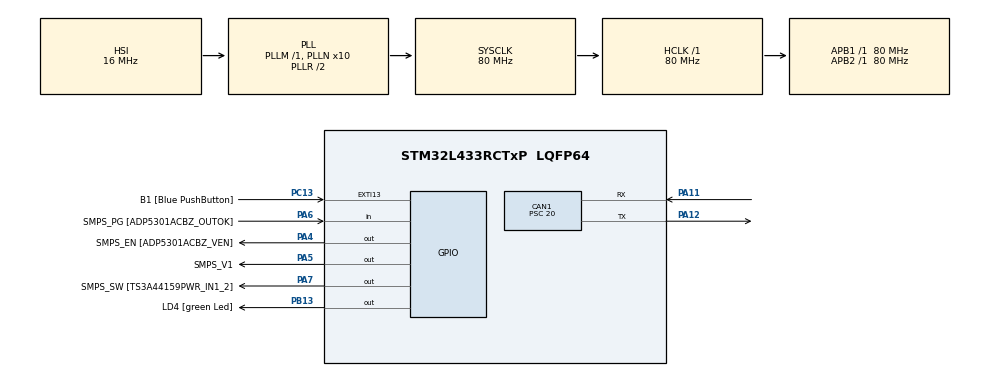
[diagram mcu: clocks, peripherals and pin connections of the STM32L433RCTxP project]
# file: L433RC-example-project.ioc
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CAN1.BS1=CAN_BS1_2TQ
CAN1.BS2=CAN_BS2_1TQ
CAN1.CalculateBaudRate=1000000
CAN1.CalculateTimeBit=1000
CAN1.CalculateTimeQuantum=250.0
CAN1.Prescaler=20
Mcu.Family=STM32L4
Mcu.Name=STM32L433RCTxP
Mcu.Package=LQFP64
NVIC.CAN1_RX0_IRQn=true\:0\:0\:false\:false\:true\:true\:true\:true
NVIC.PriorityGroup=NVIC_PRIORITYGROUP_4
PA11.Mode=CAN_Activate
PA11.Signal=CAN1_RX
PA12.Mode=CAN_Activate
PA12.Signal=CAN1_TX
PA13\ (JTMS-SWDIO).GPIO_Label=TMS
PA13\ (JTMS-SWDIO).Signal=SYS_JTMS-SWDIO
PA14\ (JTCK-SWCLK).GPIO_Label=TCK
PA14\ (JTCK-SWCLK).Signal=SYS_JTCK-SWCLK
PA2.GPIO_Label=USART_TX
PA2.GPIO_Mode=GPIO_MODE_AF_PP
PA2.GPIO_PuPd=GPIO_NOPULL
PA2.GPIO_Speed=GPIO_SPEED_FREQ_VERY_HIGH
PA2.Signal=USART2_TX
PA3.GPIO_Label=USART_RX
PA3.GPIO_Mode=GPIO_MODE_AF_PP
PA3.GPIO_PuPd=GPIO_NOPULL
PA3.GPIO_Speed=GPIO_SPEED_FREQ_VERY_HIGH
PA3.Signal=USART2_RX
PA4.GPIO_Label=SMPS_EN [ADP5301ACBZ_VEN]
PA4.Signal=GPIO_Output
PA5.GPIO_Label=SMPS_V1
PA5.GPIO_ModeDefaultOutputPP=GPIO_MODE_OUTPUT_PP
PA5.GPIO_PuPd=GPIO_NOPULL
PA5.GPIO_Speed=GPIO_SPEED_FREQ_LOW
PA5.Signal=GPIO_Output
PA6.GPIO_Label=SMPS_PG [ADP5301ACBZ_OUTOK]
PA6.GPIO_PuPd=GPIO_PULLUP
PA6.Signal=GPIO_Input
PA7.GPIO_Label=SMPS_SW [TS3A44159PWR_IN1_2]
PA7.Signal=GPIO_Output
PB13.GPIO_Label=LD4 [green Led]
PB13.Signal=GPIO_Output
PB3\ (JTDO-TRACESWO).GPIO_Label=SWO
PB3\ (JTDO-TRACESWO).Signal=SYS_JTDO-SWO
PC13.GPIO_Label=B1 [Blue PushButton]
PC13.GPIO_ModeDefaultEXTI=GPIO_MODE_IT_FALLING
PC13.GPIO_PuPd=GPIO_NOPULL
PC13.Signal=GPXTI13
PC14-OSC32_IN\ (PC14).Signal=RCC_OSC32_IN
PC15-OSC32_OUT\ (PC15).Signal=RCC_OSC32_OUT
PH0-OSC_IN\ (PH0).GPIO_Label=MCO
PH0-OSC_IN\ (PH0).Signal=RCC_OSC_IN
PH1-OSC_OUT\ (PH1).Signal=RCC_OSC_OUT
ProjectManager.HeapSize=0x200
ProjectManager.StackSize=0x400
ProjectManager.TargetToolchain=STM32CubeIDE
RCC.ADCFreq_Value=64000000
RCC.AHBFreq_Value=80000000
RCC.APB1Freq_Value=80000000
RCC.APB1TimFreq_Value=80000000
RCC.APB2Freq_Value=80000000
RCC.APB2TimFreq_Value=80000000
RCC.CortexFreq_Value=80000000
RCC.HCLKFreq_Value=80000000
RCC.HSE_VALUE=8000000
RCC.HSI48_VALUE=48000000
RCC.HSI_VALUE=16000000
RCC.LSE_VALUE=32768
RCC.MSI_VALUE=4000000
RCC.PLLN=10
RCC.PLLSourceVirtual=RCC_PLLSOURCE_HSI
RCC.PREFETCH_ENABLE=1
RCC.SYSCLKFreq_VALUE=80000000
RCC.SYSCLKSource=RCC_SYSCLKSOURCE_PLLCLK
RCC.USBFreq_Value=64000000
RCC.VCOOutputFreq_Value=160000000
board=NUCLEO-L433RC-P

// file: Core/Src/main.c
/* USER CODE BEGIN Header */
/**
  ******************************************************************************
  * @file           : main.c
  * @brief          : Main program body
  ******************************************************************************
  * @attention
  *
  * Copyright (c) 2024 STMicroelectronics.
  * All rights reserved.
  *
  * This software is licensed under terms that can be found in the LICENSE file
  * in the root directory of this software component.
  * If no LICENSE file comes with this software, it is provided AS-IS.
  *
  ******************************************************************************
  */
/* USER CODE END Header */
#include "main.h"
#include "can.h"
#include "gpio.h"

/* USER CODE BEGIN Includes */
#include "canard_stm32_driver.h"
#include <time.h>
#include <stdio.h>
#include "dronecan_msgs.h"
#include "node_config.h"
/* USER CODE END Includes */

/* USER CODE BEGIN PD */
#define CLOCK_MONOTONIC 1  // Define CLOCK_MONOTONIC for compatibility
/* USER CODE END PD */

/* USER CODE BEGIN PV */
static CanardInstance canard;
static uint8_t memory_pool[1024];
static struct uavcan_protocol_NodeStatus node_status;
/* USER CODE END PV */

void SystemClock_Config(void);

/* USER CODE BEGIN 0 */
// The actual ISR, modify this to your needs
// Run HAL_CAN_ActivateNotification(&hcan1, CAN_IT_RX_FIFO0_MSG_PENDING) once to set up the ISR
void HAL_CAN_RxFifo0MsgPendingCallback(CAN_HandleTypeDef *hcan) {
	// Receiving
	CanardCANFrame rx_frame;

	const uint64_t timestamp = HAL_GetTick() * 1000ULL;
	const int16_t rx_res = canardSTM32Recieve(hcan, CAN_RX_FIFO0, &rx_frame);

	if (rx_res < 0) {
		printf("Receive error %d\n", rx_res);
	}
	else if (rx_res > 0)        // Success - process the frame
	{
		canardHandleRxFrame(&canard, &rx_frame, timestamp);
	}
}

// CAN Filter setup, modify this to your needs
// Run this once before calling HAL_CAN_Start()
void setupCANFilter(CAN_HandleTypeDef *hcan) {
    CAN_FilterTypeDef filter;
    filter.FilterBank = 0;
	filter.FilterMode = CAN_FILTERMODE_IDMASK;
	filter.FilterFIFOAssignment = CAN_RX_FIFO0;
	filter.FilterIdHigh = 0;
	filter.FilterIdLow = 0;
	filter.FilterMaskIdHigh = 0;
	filter.FilterMaskIdLow = 0;
	filter.FilterScale = CAN_FILTERSCALE_32BIT;
	filter.FilterActivation = ENABLE;
	filter.SlaveStartFilterBank = 14;

	HAL_CAN_ConfigFilter(hcan, &filter);
}

// Custom clock_gettime function for STM32
int clock_gettime(clockid_t clk_id, struct timespec *tp) {
    if (clk_id == CLOCK_MONOTONIC) {
        uint32_t millis = HAL_GetTick();  // Get the current tick in milliseconds
        tp->tv_sec = millis / 1000;       // Convert milliseconds to seconds
        tp->tv_nsec = (millis % 1000) * 1000000;  // Convert remaining milliseconds to nanoseconds
        return 0;  // Success
    }
    return -1;  // Unsupported clock ID
}

// NOTE: All canard handlers and senders are based on this reference: https://dronecan.github.io/Specification/7._List_of_standard_data_types/
// Alternatively, you can look at the corresponding generated header file in the dsdlc_generated folder

// Canard Handlers ( Many have code copied from libcanard esc_node example: https://github.com/dronecan/libcanard/blob/master/examples/ESCNode/esc_node.c )

void handle_NodeStatus(CanardInstance *ins, CanardRxTransfer *transfer) {
	struct uavcan_protocol_NodeStatus nodeStatus;

	if (uavcan_protocol_NodeStatus_decode(transfer, &nodeStatus)) {
		return;
	}

	printf("Node health: %ud Node Mode: %ud\n", nodeStatus.health, nodeStatus.mode);

	printf("Node Health ");

	switch (nodeStatus.health) {
	case UAVCAN_PROTOCOL_NODESTATUS_HEALTH_OK:
		printf("OK\n");
		break;
	case UAVCAN_PROTOCOL_NODESTATUS_HEALTH_WARNING:
		printf("WARNING\n");
		break;
	case UAVCAN_PROTOCOL_NODESTATUS_HEALTH_ERROR:
		printf("ERROR\n");
		break;
	case UAVCAN_PROTOCOL_NODESTATUS_HEALTH_CRITICAL:
		printf("CRITICAL\n");
		break;
	default:
		printf("UNKNOWN?\n");
		break;
	}

	printf("Node Mode ");

	switch(nodeStatus.mode) {
	case UAVCAN_PROTOCOL_NODESTATUS_MODE_OPERATIONAL:
		printf("OPERATIONAL\n");
		break;
	case UAVCAN_PROTOCOL_NODESTATUS_MODE_INITIALIZATION:
		printf("INITIALIZATION\n");
		break;
	case UAVCAN_PROTOCOL_NODESTATUS_MODE_MAINTENANCE:
		printf("MAINTENANCE\n");
		break;
	case UAVCAN_PROTOCOL_NODESTATUS_MODE_SOFTWARE_UPDATE:
		printf("SOFTWARE UPDATE\n");
		break;
	case UAVCAN_PROTOCOL_NODESTATUS_MODE_OFFLINE:
		printf("OFFLINE\n");
		break;
	default:
		printf("UNKNOWN?\n");
		break;
	}
}

void handle_NotifyState(CanardInstance *ins, CanardRxTransfer *transfer) {
	struct ardupilot_indication_NotifyState notifyState;

	if (ardupilot_indication_NotifyState_decode(transfer, &notifyState)) {
		return;
	}

	uint32_t nl = notifyState.vehicle_state & 0xFFFFFFFF;  // ignoring the last 32 bits for printing since the highest vehicle_state value right now is 23 even though they're allowed to be up to 64bit unsigned integer

	printf("Vehicle State: %lu ", nl);

	if (notifyState.aux_data.len > 0) {
		printf("Aux Data: 0x");

		for (int i = 0; i < notifyState.aux_data.len; i++) {
			printf("%02x", notifyState.aux_data.data[i]);
		}
	}

	printf("\n");

}

/*
  handle a GetNodeInfo request
*/
// TODO: All the data in here is temporary for testing. If actually need to send valid data, edit accordingly.
void handle_GetNodeInfo(CanardInstance *ins, CanardRxTransfer *transfer) {
	printf("GetNodeInfo request from %d\n", transfer->source_node_id);

	uint8_t buffer[UAVCAN_PROTOCOL_GETNODEINFO_RESPONSE_MAX_SIZE];
	struct uavcan_protocol_GetNodeInfoResponse pkt;

	memset(&pkt, 0, sizeof(pkt));

	node_status.uptime_sec = HAL_GetTick() / 1000ULL;
	pkt.status = node_status;

	// fill in your major and minor firmware version
	pkt.software_version.major = 1;
	pkt.software_version.minor = 0;
	pkt.software_version.optional_field_flags = 0;
	pkt.software_version.vcs_commit = 0; // should put git hash in here

	// should fill in hardware version
	pkt.hardware_version.major = 1;
	pkt.hardware_version.minor = 0;

	// just setting all 16 bytes to 1 for testing
	getUniqueID(pkt.hardware_version.unique_id);

	strncpy((char*)pkt.name.data, "SERVONode", sizeof(pkt.name.data));
	pkt.name.len = strnlen((char*)pkt.name.data, sizeof(pkt.name.data));

	uint16_t total_size = uavcan_protocol_GetNodeInfoResponse_encode(&pkt, buffer);

	canardRequestOrRespond(ins,
						   transfer->source_node_id,
						   UAVCAN_PROTOCOL_GETNODEINFO_SIGNATURE,
						   UAVCAN_PROTOCOL_GETNODEINFO_ID,
						   &transfer->transfer_id,
						   transfer->priority,
						   CanardResponse,
						   &buffer[0],
						   total_size);
}

// Canard Senders

/*
  send the 1Hz NodeStatus message. This is what allows a node to show
  up in the DroneCAN GUI tool and in the flight controller logs
 */
void send_NodeStatus(void) {
    uint8_t buffer[UAVCAN_PROTOCOL_GETNODEINFO_RESPONSE_MAX_SIZE];

    node_status.uptime_sec = HAL_GetTick() / 1000UL;
    node_status.health = UAVCAN_PROTOCOL_NODESTATUS_HEALTH_OK;
    node_status.mode = UAVCAN_PROTOCOL_NODESTATUS_MODE_OPERATIONAL;
    node_status.sub_mode = 0;

    // put whatever you like in here for display in GUI
    node_status.vendor_specific_status_code = 1234;

    uint32_t len = uavcan_protocol_NodeStatus_encode(&node_status, buffer);

    // we need a static variable for the transfer ID. This is
    // incremeneted on each transfer, allowing for detection of packet
    // loss
    static uint8_t transfer_id;

    canardBroadcast(&canard,
                    UAVCAN_PROTOCOL_NODESTATUS_SIGNATURE,
                    UAVCAN_PROTOCOL_NODESTATUS_ID,
                    &transfer_id,
                    CANARD_TRANSFER_PRIORITY_LOW,
                    buffer,
                    len);
}

// Canard Util

bool shouldAcceptTransfer(const CanardInstance *ins,
                                 uint64_t *out_data_type_signature,
                                 uint16_t data_type_id,
                                 CanardTransferType transfer_type,
                                 uint8_t source_node_id)
{
	if (transfer_type == CanardTransferTypeRequest) {
	// check if we want to handle a specific service request
		switch (data_type_id) {
		case UAVCAN_PROTOCOL_GETNODEINFO_ID: {
			*out_data_type_signature = UAVCAN_PROTOCOL_GETNODEINFO_REQUEST_SIGNATURE;
			return true;
		}
		}
	}
	if (transfer_type == CanardTransferTypeResponse) {
		// check if we want to handle a specific service request
		switch (data_type_id) {
		}
	}
	if (transfer_type == CanardTransferTypeBroadcast) {
		// see if we want to handle a specific broadcast packet
		switch (data_type_id) {
		case UAVCAN_PROTOCOL_NODESTATUS_ID: {
			*out_data_type_signature = UAVCAN_PROTOCOL_NODESTATUS_SIGNATURE;
			return true;
		}
		case ARDUPILOT_INDICATION_NOTIFYSTATE_ID: {
			*out_data_type_signature = ARDUPILOT_INDICATION_NOTIFYSTATE_SIGNATURE;
			return true;
		}
		}
	}
	// we don't want any other messages
	return false;
}

void onTransferReceived(CanardInstance *ins, CanardRxTransfer *transfer) {
	// switch on data type ID to pass to the right handler function
//	printf("Transfer type: %du, Transfer ID: %du \n", transfer->transfer_type, transfer->data_type_id);
//	printf("0x");
//		for (int i = 0; i < transfer->payload_len; i++) {
//			printf("%02x", transfer->payload_head[i]);
//		}
//
//		printf("\n");
	if (transfer->transfer_type == CanardTransferTypeRequest) {
		// check if we want to handle a specific service request
		switch (transfer->data_type_id) {
		case UAVCAN_PROTOCOL_GETNODEINFO_ID: {
			handle_GetNodeInfo(ins, transfer);
			break;
		}
		}
	}
	if (transfer->transfer_type == CanardTransferTypeResponse) {
		switch (transfer->data_type_id) {
		}
	}
	if (transfer->transfer_type == CanardTransferTypeBroadcast) {
		// check if we want to handle a specific broadcast message
		switch (transfer->data_type_id) {
		case UAVCAN_PROTOCOL_NODESTATUS_ID: {
			handle_NodeStatus(ins, transfer);
			break;
		}
		case ARDUPILOT_INDICATION_NOTIFYSTATE_ID: {
			handle_NotifyState(ins, transfer);
			break;
		}
		}
	}
}

// Processes the canard Tx queue and attempts to transmit the messages
// Call this function very often to check if there are any Tx to process
// Calling it once every cycle of the while(1) loop is not a bad idea
void processCanardTxQueue(CAN_HandleTypeDef *hcan) {
	// Transmitting

	for (const CanardCANFrame *tx_frame ; (tx_frame = canardPeekTxQueue(&canard)) != NULL;) {
		const int16_t tx_res = canardSTM32Transmit(hcan, tx_frame);

		if (tx_res <= 0) {
			printf("Transmit error %d\n", tx_res);
		} else if (tx_res > 0) {
			printf("Successfully transmitted message\n");
		}

		// Pop canardTxQueue either way
		canardPopTxQueue(&canard);
	}
}

/*
  This function is called at 1 Hz rate from the main loop.
*/
void process1HzTasks(uint64_t timestamp_usec) {
    /*
      Purge transfers that are no longer transmitted. This can free up some memory
    */
    canardCleanupStaleTransfers(&canard, timestamp_usec);

    /*
      Transmit the node status message
    */
    send_NodeStatus();
}
/* USER CODE END 0 */

int main(void)
{

  /* MCU Configuration--------------------------------------------------------*/

  /* Reset of all peripherals, Initializes the Flash interface and the Systick. */
  HAL_Init();

  /* Configure the system clock */
  SystemClock_Config();

  /* Initialize all configured peripherals */
  MX_GPIO_Init();
  MX_CAN1_Init();
  /* USER CODE BEGIN 2 */
  setupCANFilter(&hcan1);
  HAL_CAN_Start(&hcan1);
  HAL_CAN_ActivateNotification(&hcan1, CAN_IT_RX_FIFO0_MSG_PENDING);

  canardInit(&canard,
			  memory_pool,
			  sizeof(memory_pool),
			  onTransferReceived,
			  shouldAcceptTransfer,
			  NULL);

  // Could use DNA (Dynamic Node Allocation) by following example in esc_node.c but that requires a lot of setup and I'm not too sure of what advantage it brings
  // Instead, set a different NODE_ID for each device on the CAN bus by configuring node_settings
  if (NODE_ID > 0) {
	  canardSetLocalNodeID(&canard, NODE_ID);
  } else {
	  printf("Node ID is 0, this node is anonymous and can't transmit most messaged. Please update this in node_settings.h\n");
  }

  uint64_t next_1hz_service_at = HAL_GetTick();
  /* USER CODE END 2 */

  /* Infinite loop */
  while (1)
  {

    /* USER CODE BEGIN 3 */
	const uint64_t ts = HAL_GetTick();

	if (ts >= next_1hz_service_at){
	  next_1hz_service_at += 1000ULL;
	  process1HzTasks(ts);
	}

	processCanardTxQueue(&hcan1);
  }
  /* USER CODE END 3 */
}

void SystemClock_Config(void)
{
  RCC_OscInitTypeDef RCC_OscInitStruct = {0};
  RCC_ClkInitTypeDef RCC_ClkInitStruct = {0};

  /** Configure the main internal regulator output voltage
  */
  if (HAL_PWREx_ControlVoltageScaling(PWR_REGULATOR_VOLTAGE_SCALE1) != HAL_OK)
  {
    Error_Handler();
  }

  /** Initializes the RCC Oscillators according to the specified parameters
  * in the RCC_OscInitTypeDef structure.
  */
  RCC_OscInitStruct.OscillatorType = RCC_OSCILLATORTYPE_HSI;
  RCC_OscInitStruct.HSIState = RCC_HSI_ON;
  RCC_OscInitStruct.HSICalibrationValue = RCC_HSICALIBRATION_DEFAULT;
  RCC_OscInitStruct.PLL.PLLState = RCC_PLL_ON;
  RCC_OscInitStruct.PLL.PLLSource = RCC_PLLSOURCE_HSI;
  RCC_OscInitStruct.PLL.PLLM = 1;
  RCC_OscInitStruct.PLL.PLLN = 10;
  RCC_OscInitStruct.PLL.PLLP = RCC_PLLP_DIV7;
  RCC_OscInitStruct.PLL.PLLQ = RCC_PLLQ_DIV2;
  RCC_OscInitStruct.PLL.PLLR = RCC_PLLR_DIV2;
  if (HAL_RCC_OscConfig(&RCC_OscInitStruct) != HAL_OK)
  {
    Error_Handler();
  }

  /** Initializes the CPU, AHB and APB buses clocks
  */
  RCC_ClkInitStruct.ClockType = RCC_CLOCKTYPE_HCLK|RCC_CLOCKTYPE_SYSCLK
                              |RCC_CLOCKTYPE_PCLK1|RCC_CLOCKTYPE_PCLK2;
  RCC_ClkInitStruct.SYSCLKSource = RCC_SYSCLKSOURCE_PLLCLK;
  RCC_ClkInitStruct.AHBCLKDivider = RCC_SYSCLK_DIV1;
  RCC_ClkInitStruct.APB1CLKDivider = RCC_HCLK_DIV1;
  RCC_ClkInitStruct.APB2CLKDivider = RCC_HCLK_DIV1;

  if (HAL_RCC_ClockConfig(&RCC_ClkInitStruct, FLASH_LATENCY_4) != HAL_OK)
  {
    Error_Handler();
  }
}

void Error_Handler(void)
{
  __disable_irq();
  while (1)
  {
  }
}
